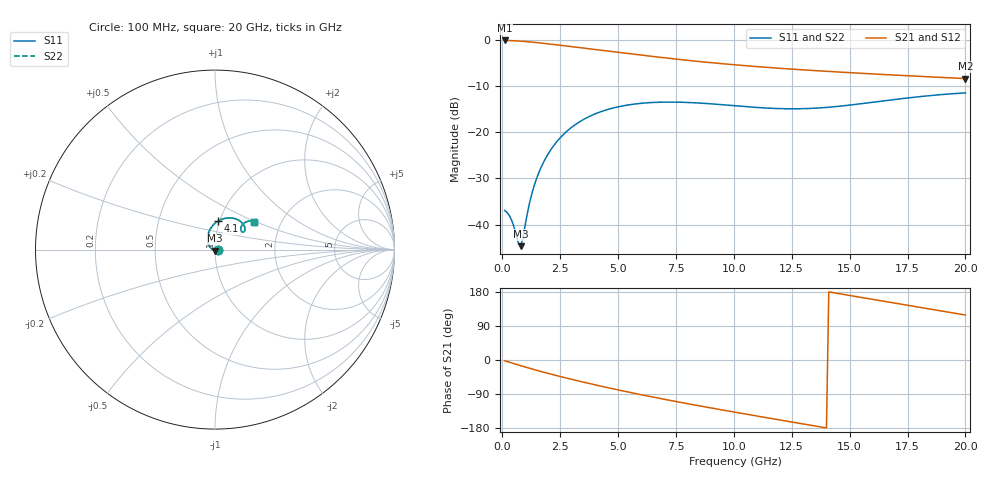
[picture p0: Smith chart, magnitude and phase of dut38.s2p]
! Created with skrf 1.9.0 (http://scikit-rf.org).
# GHz S RI R 50.0
!freq ReS11 ImS11 ReS21 ImS21 ReS12 ImS12 ReS22 ImS22
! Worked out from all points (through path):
!   200 points, 100 MHz to 20 GHz, reference 50 ohm
!   highest |S21| = -0.13 dB at 100 MHz (marker M1); lowest = -8.4 dB at 20 GHz (marker M2)
!   group delay of S21, straight-line fit = 32 ps
!   lowest |S11| = -44.6 dB at 800 MHz (marker M3), VSWR 1.01, Z = 49.8 - j0.535 ohm
!   |S11| at or under -10 dB: start of sweep to end of sweep
!   |S22| runs from -44.6 to -11.5 dB; largest |S21 - S12| = 2.3e-15
!   S11 on the Smith chart (normalised r, x): 100 MHz: 1.03, -0.00; 4.1 GHz: 0.99, +0.32; 20 GHz: 1.46, +0.49
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0.1  0.0142 -0.00149  0.9847 -0.033  0.9847 -0.033  0.0142 -0.00149
0.4  0.00994 -0.00527  0.9721 -0.1304  0.9721 -0.1304  0.00994 -0.00527
0.7  0.00126 -0.00609  0.9461 -0.2227  0.9461 -0.2227  0.00126 -0.00609
0.8  -0.00233 -0.00537  0.9348 -0.252  0.9348 -0.252  -0.00233 -0.00537
0.9  -0.00613 -0.0041  0.9223 -0.2804  0.9223 -0.2804  -0.00613 -0.0041
1.1  -0.014 0.00021  0.8943 -0.3343  0.8943 -0.3343  -0.014 0.00021
1.3  -0.0217 0.00682  0.8628 -0.3843  0.8628 -0.3843  -0.0217 0.00682
1.5  -0.0286 0.0155  0.8285 -0.4302  0.8285 -0.4302  -0.0286 0.0155
1.8  -0.0365 0.0318  0.7732 -0.4917  0.7732 -0.4917  -0.0365 0.0318
2.1  -0.0407 0.0507  0.7146 -0.5445  0.7146 -0.5445  -0.0407 0.0507
2.5  -0.0399 0.0775  0.6336 -0.6027  0.6336 -0.6027  -0.0399 0.0775
3.5  -0.0102 0.1369  0.4276 -0.6946  0.4276 -0.6946  -0.0102 0.1369
4.1  0.0193 0.1604  0.3078 -0.7187  0.3078 -0.7187  0.0193 0.1604
5.3  0.0821 0.1769  0.0899 -0.7126  0.0899 -0.7126  0.0821 0.1769
6.8  0.1397 0.1589  -0.1277 -0.6354  -0.1277 -0.6354  0.1397 0.1589
8.4  0.1652 0.1262  -0.2913 -0.5092  -0.2913 -0.5092  0.1652 0.1262
10.1  0.1638 0.1024  -0.3999 -0.3561  -0.3999 -0.3561  0.1638 0.1024
11.7  0.1524 0.0982  -0.4524 -0.2085  -0.4524 -0.2085  0.1524 0.0982
13.4  0.1441 0.1106  -0.4631 -0.0566  -0.4631 -0.0566  0.1441 0.1106
15  0.1476 0.1303  -0.4354 0.0744  -0.4354 0.0744  0.1476 0.1303
16.7  0.1646 0.1495  -0.372 0.1924  -0.372 0.1924  0.1646 0.1495
20  0.2171 0.1553  -0.1834 0.3344  -0.1834 0.3344  0.2171 0.1553
